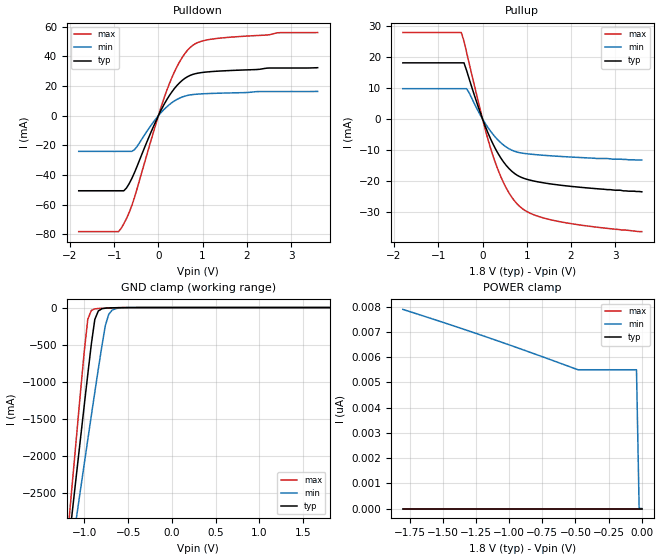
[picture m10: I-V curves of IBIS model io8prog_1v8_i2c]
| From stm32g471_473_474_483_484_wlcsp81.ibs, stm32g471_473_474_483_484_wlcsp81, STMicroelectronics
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|   Model io8prog_1v8_i2c
[Model]  io8prog_1v8_i2c
Model_type I/O
Polarity   Non-Inverting
Enable   Active-Low
Vinl =   0.540000V
Vinh =   1.260000V
Vmeas =  0.900000V
Cref =   100.000000nF
Rref =   1.000000k
Vref =   1.800000V
C_comp   2.197300pF   2.162700pF   2.264100pF
[Temperature Range]   25.000000   0.125000k   -40.000000
[Pullup Reference]   1.800000V   1.600000V   2.000000V
[Pulldown Reference]   0.0V   0.0V   0.0V
[POWER Clamp Reference]   1.800000V   1.600000V   2.000000V
[GND Clamp Reference]   0.0V   0.0V   0.0V
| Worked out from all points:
|   slope of the pulldown table from 0 to 0.27 V, typ, clamps not added: 18.6 ohm
|   slope of the pullup table from 0 to 0.27 V, typ, clamps not added: 30.1 ohm
|   GND clamp passes 1 mA (typ) near -0.58 V on its own axis
[Pulldown]
|Voltage   I(typ)   I(min)   I(max)
-1.8V     -50.56mA   -24.03mA   -78.13mA
-900mV    -50.56mA   -24.03mA   -78.13mA
-840mV    -50.56mA   -24.03mA   -75.89mA
-720mV    -48.68mA   -24.03mA   -69.28mA
-540mV    -38.37mA   -22.9mA    -55.15mA
-60mV     -3.89mA    -2.235mA   -5.966mA
240mV     13.2mA     7.298mA    20.96mA
480mV     22.23mA    11.89mA    36.37mA
720mV     27.21mA    14.03mA    46.04mA
960mV     29.03mA    14.72mA    50.09mA
1.32V     30.01mA    15.15mA    52.08mA
3.6V      32.38mA    16.41mA    56.09mA
[Pullup]
|Voltage   I(typ)   I(min)   I(max)
-1.8V     18.05mA    9.741mA    27.78mA
-480mV    18.05mA    9.741mA    27.78mA
-420mV    18.05mA    9.741mA    25.03mA
-360mV    15.57mA    9.741mA    21.38mA
60mV      -2.268mA   -1.401mA   -3.341mA
240mV     -8.143mA   -5.004mA   -12mA
360mV     -11.31mA   -6.914mA   -16.72mA
540mV     -15mA      -9.056mA   -22.31mA
840mV     -18.52mA   -10.83mA   -28.11mA
1.14V     -19.87mA   -11.38mA   -30.67mA
1.68V     -21.13mA   -11.96mA   -32.81mA
3.6V      -23.4mA    -13.2mA    -36.2mA
[GND_clamp]
|Voltage   I(typ)   I(min)   I(max)
-1.8V     -9.861A    -8.8A      -9.626A
-1.16V    -3.004A    -3.417A    -2.68A
-1.12V    -2.579A    -3.088A    -2.15A
-1.08V    -2.155A    -2.76A     -1.623A
-1V       -1.315A    -2.108A    -586.3mA
-960mV    -900.6mA   -1.784A    -158.3mA
-920mV    -496.8mA   -1.462A    -39.39mA
-880mV    -160.5mA   -1.144A    -17.82mA
-840mV    -45.92mA   -830.3mA   -12.52mA
-760mV    -8.262mA   -243mA     -7.547mA
-680mV    -3.389mA   -33.05mA   -3.833mA
1.8V      0A         0A         0A
[POWER_clamp]
|Voltage   I(typ)   I(min)   I(max)
-1.8V     0A         7.891nA    0A
-1.14V    0A         6.744nA    0A
-480mV    0A         5.5nA      0A
-40mV     0A         5.5nA      0A
-20mV     0A         0A         0A
0V        0A         0A         0A
[Ramp]
| variable   typ   min   max
dV/dt_r  0.56065/6.00000u   0.33689/6.00000u   0.77868/6.00000u
dV/dt_f  0.73752/6.00000u   0.43637/6.00000u   0.95888/6.00000u
R_load = 50.000000
|End [Model] io8prog_1v8_i2c
